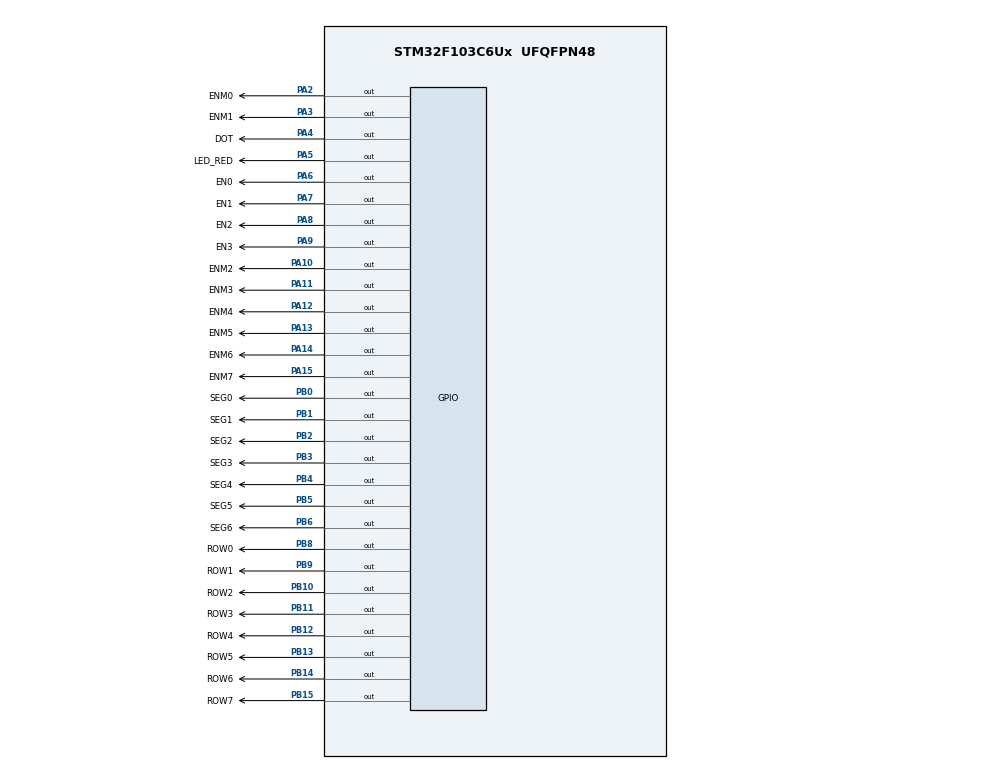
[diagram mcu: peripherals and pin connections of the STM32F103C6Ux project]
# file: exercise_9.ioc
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Mcu.Family=STM32F1
Mcu.Name=STM32F103C6Ux
Mcu.Package=UFQFPN48
NVIC.PriorityGroup=NVIC_PRIORITYGROUP_4
NVIC.TIM2_IRQn=true\:0\:0\:false\:false\:true\:true\:true
PA10.GPIO_Label=ENM2
PA10.Signal=GPIO_Output
PA11.GPIO_Label=ENM3
PA11.Signal=GPIO_Output
PA12.GPIO_Label=ENM4
PA12.Signal=GPIO_Output
PA13.GPIO_Label=ENM5
PA13.Signal=GPIO_Output
PA14.GPIO_Label=ENM6
PA14.Signal=GPIO_Output
PA15.GPIO_Label=ENM7
PA15.Signal=GPIO_Output
PA2.GPIO_Label=ENM0
PA2.Signal=GPIO_Output
PA3.GPIO_Label=ENM1
PA3.Signal=GPIO_Output
PA4.GPIO_Label=DOT
PA4.Signal=GPIO_Output
PA5.GPIO_Label=LED_RED
PA5.Signal=GPIO_Output
PA6.GPIO_Label=EN0
PA6.Signal=GPIO_Output
PA7.GPIO_Label=EN1
PA7.Signal=GPIO_Output
PA8.GPIO_Label=EN2
PA8.Signal=GPIO_Output
PA9.GPIO_Label=EN3
PA9.Signal=GPIO_Output
PB0.GPIO_Label=SEG0
PB0.Signal=GPIO_Output
PB1.GPIO_Label=SEG1
PB1.Signal=GPIO_Output
PB10.GPIO_Label=ROW2
PB10.Signal=GPIO_Output
PB11.GPIO_Label=ROW3
PB11.Signal=GPIO_Output
PB12.GPIO_Label=ROW4
PB12.Signal=GPIO_Output
PB13.GPIO_Label=ROW5
PB13.Signal=GPIO_Output
PB14.GPIO_Label=ROW6
PB14.Signal=GPIO_Output
PB15.GPIO_Label=ROW7
PB15.Signal=GPIO_Output
PB2.GPIO_Label=SEG2
PB2.Signal=GPIO_Output
PB3.GPIO_Label=SEG3
PB3.Signal=GPIO_Output
PB4.GPIO_Label=SEG4
PB4.Signal=GPIO_Output
PB5.GPIO_Label=SEG5
PB5.Signal=GPIO_Output
PB6.GPIO_Label=SEG6
PB6.Signal=GPIO_Output
PB8.GPIO_Label=ROW0
PB8.Signal=GPIO_Output
PB9.GPIO_Label=ROW1
PB9.Signal=GPIO_Output
ProjectManager.HeapSize=0x200
ProjectManager.StackSize=0x400
ProjectManager.TargetToolchain=STM32CubeIDE
RCC.APB1Freq_Value=8000000
RCC.APB2Freq_Value=8000000
TIM2.Period=9
TIM2.Prescaler=7999
VP_SYS_VS_ND.Mode=No_Debug
VP_TIM2_VS_ClockSourceINT.Mode=Internal
board=custom

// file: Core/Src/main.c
/* USER CODE BEGIN Header */
/**
  ******************************************************************************
  * @file           : main.c
  * @brief          : Main program body
  ******************************************************************************
  * @attention
  *
  * <h2><center>&copy; Copyright (c) 2025 STMicroelectronics.
  * All rights reserved.</center></h2>
  *
  * This software component is licensed by ST under BSD 3-Clause license,
  * the "License"; You may not use this file except in compliance with the
  * License. You may obtain a copy of the License at:
  *                        opensource.org/licenses/BSD-3-Clause
  *
  ******************************************************************************
  */
/* USER CODE END Header */
#include "main.h"

/* USER CODE BEGIN Includes */
#include "software_timer.h"
/* USER CODE END Includes */

TIM_HandleTypeDef htim2;

/* USER CODE BEGIN PV */
uint8_t led7seg_num_display[] = {
		/*0*/ 0x40,/*0b1000000*/
		/*1*/ 0x79,/*0b11111001*/
		/*2*/ 0x24,/*0b0100100*/
		/*3*/ 0x30,/*0b0110000*/
		/*4*/ 0x19,/*0b0011001*/
		/*5*/ 0x12,/*0b0010010*/
		/*6*/ 0x02,/*0b0000010*/
		/*7*/ 0x78,/*0b1111000*/
		/*8*/ 0x00,/*0b0000000*/
		/*9*/ 0x10/*0b0010000*/
};

uint8_t matrix_buffer[8] = {
   /*11000011*/ 0xC3, // ~0x3C
   /*10111101*/ 0xBD, // ~0x42
   /*01111110*/ 0x7E, // ~0x81
   /*01111110*/ 0x7E, // ~0x81
   /*00000000*/ 0x00, // ~0xFF (Thanh ngang ON)
   /*01111110*/ 0x7E, // ~0x81
   /*01111110*/ 0x7E, // ~0x81
   /*11111111*/ 0xFF  // ~0x00 (Cột trống OFF)
};
int led_index = 0;
const int MAX_LED = 4;
int led_buffer[4] = {0};
int led_matrix_index = 0;
/* USER CODE END PV */

void SystemClock_Config(void);
static void MX_TIM2_Init(void);
static void MX_GPIO_Init(void);
/* USER CODE BEGIN PFP */
void display7SEG(uint8_t num);
void update7SEG(uint8_t index);
void updateClockBuffer(int hour, int min);
void displayMatrix(uint8_t index);
void updateLEDMatrix (uint8_t index);
/* USER CODE END PFP */

int main(void)
{

  /* MCU Configuration--------------------------------------------------------*/

  /* Reset of all peripherals, Initializes the Flash interface and the Systick. */
  HAL_Init();

  /* Configure the system clock */
  SystemClock_Config();

  /* Initialize all configured peripherals */
  MX_TIM2_Init();
  MX_GPIO_Init();
  /* USER CODE BEGIN 2 */
  HAL_TIM_Base_Start_IT(&htim2);
  /* USER CODE END 2 */

  /* Infinite loop */
  /* USER CODE BEGIN WHILE */
  setTimer(0, 10); //LED_RED
  setTimer(1, 5); //7_SEG
  setTimer(2, 10); //2 LED
  setTimer(3, 50);
  int hour = 15, minute = 8, second = 50;
  while (1)
  {
	  if (isExpired(0) == 1){
		  setTimer(0, 100);
		  HAL_GPIO_TogglePin(LED_RED_GPIO_Port,LED_RED_Pin);
	  }
	  if (isExpired(1) == 1){
		  setTimer(1,  50);
		  led_index = (led_index + 1) % MAX_LED;
	  }
	  if (isExpired(2) == 1){
		  setTimer(2, 100);
		  HAL_GPIO_TogglePin(DOT_GPIO_Port,DOT_Pin);
		  second++;
		  if (second >= 60){
			  second = 0;
			  minute++;
		  }
		  if (minute >= 60){
			  minute = 0;
			  hour++;
		  }
		  if (hour >= 24){
			  hour = 0;
		  }
		  updateClockBuffer(hour, minute);
	  }
	  if (isExpired(3) == 1){
		  setTimer(3, 50);
		  led_matrix_index++;
		  if(led_matrix_index >= 8) {
			  led_matrix_index = 0;
		  }
	  }
	  updateLEDMatrix(led_matrix_index);
	  update7SEG(led_index);

    /* USER CODE END WHILE */

  }
}

void SystemClock_Config(void)
{
  RCC_OscInitTypeDef RCC_OscInitStruct = {0};
  RCC_ClkInitTypeDef RCC_ClkInitStruct = {0};

  /** Initializes the RCC Oscillators according to the specified parameters
  * in the RCC_OscInitTypeDef structure.
  */
  RCC_OscInitStruct.OscillatorType = RCC_OSCILLATORTYPE_HSI;
  RCC_OscInitStruct.HSIState = RCC_HSI_ON;
  RCC_OscInitStruct.HSICalibrationValue = RCC_HSICALIBRATION_DEFAULT;
  RCC_OscInitStruct.PLL.PLLState = RCC_PLL_NONE;
  if (HAL_RCC_OscConfig(&RCC_OscInitStruct) != HAL_OK)
  {
    Error_Handler();
  }
  /** Initializes the CPU, AHB and APB buses clocks
  */
  RCC_ClkInitStruct.ClockType = RCC_CLOCKTYPE_HCLK|RCC_CLOCKTYPE_SYSCLK
                              |RCC_CLOCKTYPE_PCLK1|RCC_CLOCKTYPE_PCLK2;
  RCC_ClkInitStruct.SYSCLKSource = RCC_SYSCLKSOURCE_HSI;
  RCC_ClkInitStruct.AHBCLKDivider = RCC_SYSCLK_DIV1;
  RCC_ClkInitStruct.APB1CLKDivider = RCC_HCLK_DIV1;
  RCC_ClkInitStruct.APB2CLKDivider = RCC_HCLK_DIV1;

  if (HAL_RCC_ClockConfig(&RCC_ClkInitStruct, FLASH_LATENCY_0) != HAL_OK)
  {
    Error_Handler();
  }
}

static void MX_TIM2_Init(void)
{

  TIM_ClockConfigTypeDef sClockSourceConfig = {0};
  TIM_MasterConfigTypeDef sMasterConfig = {0};

  htim2.Instance = TIM2;
  htim2.Init.Prescaler = 799;
  htim2.Init.CounterMode = TIM_COUNTERMODE_UP;
  htim2.Init.Period = 9;
  htim2.Init.ClockDivision = TIM_CLOCKDIVISION_DIV1;
  htim2.Init.AutoReloadPreload = TIM_AUTORELOAD_PRELOAD_DISABLE;
  if (HAL_TIM_Base_Init(&htim2) != HAL_OK)
  {
    Error_Handler();
  }
  sClockSourceConfig.ClockSource = TIM_CLOCKSOURCE_INTERNAL;
  if (HAL_TIM_ConfigClockSource(&htim2, &sClockSourceConfig) != HAL_OK)
  {
    Error_Handler();
  }
  sMasterConfig.MasterOutputTrigger = TIM_TRGO_RESET;
  sMasterConfig.MasterSlaveMode = TIM_MASTERSLAVEMODE_DISABLE;
  if (HAL_TIMEx_MasterConfigSynchronization(&htim2, &sMasterConfig) != HAL_OK)
  {
    Error_Handler();
  }

}

static void MX_GPIO_Init(void)
{
  GPIO_InitTypeDef GPIO_InitStruct = {0};

  /* GPIO Ports Clock Enable */
  __HAL_RCC_GPIOA_CLK_ENABLE();
  __HAL_RCC_GPIOB_CLK_ENABLE();

  /*Configure GPIO pin Output Level */
  HAL_GPIO_WritePin(GPIOA, ENM0_Pin|ENM1_Pin|DOT_Pin|LED_RED_Pin
                          |EN0_Pin|EN1_Pin|EN2_Pin|EN3_Pin
                          |ENM2_Pin|ENM3_Pin|ENM4_Pin|ENM5_Pin
                          |ENM6_Pin|ENM7_Pin, GPIO_PIN_RESET);

  /*Configure GPIO pin Output Level */
  HAL_GPIO_WritePin(GPIOB, SEG0_Pin|SEG1_Pin|SEG2_Pin|ROW2_Pin
                          |ROW3_Pin|ROW4_Pin|ROW5_Pin|ROW6_Pin
                          |ROW7_Pin|SEG3_Pin|SEG4_Pin|SEG5_Pin
                          |SEG6_Pin|ROW0_Pin|ROW1_Pin, GPIO_PIN_RESET);

  /*Configure GPIO pins : ENM0_Pin ENM1_Pin DOT_Pin LED_RED_Pin
                           EN0_Pin EN1_Pin EN2_Pin EN3_Pin
                           ENM2_Pin ENM3_Pin ENM4_Pin ENM5_Pin
                           ENM6_Pin ENM7_Pin */
  GPIO_InitStruct.Pin = ENM0_Pin|ENM1_Pin|DOT_Pin|LED_RED_Pin
                          |EN0_Pin|EN1_Pin|EN2_Pin|EN3_Pin
                          |ENM2_Pin|ENM3_Pin|ENM4_Pin|ENM5_Pin
                          |ENM6_Pin|ENM7_Pin;
  GPIO_InitStruct.Mode = GPIO_MODE_OUTPUT_PP;
  GPIO_InitStruct.Pull = GPIO_NOPULL;
  GPIO_InitStruct.Speed = GPIO_SPEED_FREQ_LOW;
  HAL_GPIO_Init(GPIOA, &GPIO_InitStruct);

  /*Configure GPIO pins : SEG0_Pin SEG1_Pin SEG2_Pin ROW2_Pin
                           ROW3_Pin ROW4_Pin ROW5_Pin ROW6_Pin
                           ROW7_Pin SEG3_Pin SEG4_Pin SEG5_Pin
                           SEG6_Pin ROW0_Pin ROW1_Pin */
  GPIO_InitStruct.Pin = SEG0_Pin|SEG1_Pin|SEG2_Pin|ROW2_Pin
                          |ROW3_Pin|ROW4_Pin|ROW5_Pin|ROW6_Pin
                          |ROW7_Pin|SEG3_Pin|SEG4_Pin|SEG5_Pin
                          |SEG6_Pin|ROW0_Pin|ROW1_Pin;
  GPIO_InitStruct.Mode = GPIO_MODE_OUTPUT_PP;
  GPIO_InitStruct.Pull = GPIO_NOPULL;
  GPIO_InitStruct.Speed = GPIO_SPEED_FREQ_LOW;
  HAL_GPIO_Init(GPIOB, &GPIO_InitStruct);

}

/* USER CODE BEGIN 4 */
void HAL_TIM_PeriodElapsedCallback(TIM_HandleTypeDef *htim){
	timerRun();
}

void display7SEG(uint8_t num){
	HAL_GPIO_WritePin(SEG0_GPIO_Port, SEG0_Pin, !((~led7seg_num_display[num]) & (1 << 0)));
	HAL_GPIO_WritePin(SEG1_GPIO_Port, SEG1_Pin, !((~led7seg_num_display[num]) & (1 << 1)));
	HAL_GPIO_WritePin(SEG2_GPIO_Port, SEG2_Pin, !((~led7seg_num_display[num]) & (1 << 2)));
	HAL_GPIO_WritePin(SEG3_GPIO_Port, SEG3_Pin, !((~led7seg_num_display[num]) & (1 << 3)));
	HAL_GPIO_WritePin(SEG4_GPIO_Port, SEG4_Pin, !((~led7seg_num_display[num]) & (1 << 4)));
	HAL_GPIO_WritePin(SEG5_GPIO_Port, SEG5_Pin, !((~led7seg_num_display[num]) & (1 << 5)));
	HAL_GPIO_WritePin(SEG6_GPIO_Port, SEG6_Pin, !((~led7seg_num_display[num]) & (1 << 6)));
}

void update7SEG(uint8_t index){
	switch(index){
		case 0:
			display7SEG(led_buffer[0]);
			HAL_GPIO_WritePin(EN0_GPIO_Port, EN0_Pin, GPIO_PIN_RESET);
			HAL_GPIO_WritePin(EN1_GPIO_Port, EN1_Pin, GPIO_PIN_SET);
			HAL_GPIO_WritePin(EN2_GPIO_Port, EN2_Pin, GPIO_PIN_SET);
			HAL_GPIO_WritePin(EN3_GPIO_Port, EN3_Pin, GPIO_PIN_SET);
			break;
		case 1:
			display7SEG(led_buffer[1]);
			HAL_GPIO_WritePin(EN0_GPIO_Port, EN0_Pin, GPIO_PIN_SET);
			HAL_GPIO_WritePin(EN1_GPIO_Port, EN1_Pin, GPIO_PIN_RESET);
			HAL_GPIO_WritePin(EN2_GPIO_Port, EN2_Pin, GPIO_PIN_SET);
			HAL_GPIO_WritePin(EN3_GPIO_Port, EN3_Pin, GPIO_PIN_SET);
			break;
		case 2:
			display7SEG(led_buffer[2]);
			HAL_GPIO_WritePin(EN0_GPIO_Port, EN0_Pin, GPIO_PIN_SET);
			HAL_GPIO_WritePin(EN1_GPIO_Port, EN1_Pin, GPIO_PIN_SET);
			HAL_GPIO_WritePin(EN2_GPIO_Port, EN2_Pin, GPIO_PIN_RESET);
			HAL_GPIO_WritePin(EN3_GPIO_Port, EN3_Pin, GPIO_PIN_SET);
			break;
		case 3:
			display7SEG(led_buffer[3]);
			HAL_GPIO_WritePin(EN0_GPIO_Port, EN0_Pin, GPIO_PIN_SET);
			HAL_GPIO_WritePin(EN1_GPIO_Port, EN1_Pin, GPIO_PIN_SET);
			HAL_GPIO_WritePin(EN2_GPIO_Port, EN2_Pin, GPIO_PIN_SET);
			HAL_GPIO_WritePin(EN3_GPIO_Port, EN3_Pin, GPIO_PIN_RESET);
			break;
		default:
			break;
	}

}

void updateClockBuffer(int hour, int min){
	led_buffer[0] = hour / 10;
	led_buffer[1] = hour % 10;
	led_buffer[2] = min / 10;
	led_buffer[3] = min % 10;
}

void displayMatrix(uint8_t index){
	int data = matrix_buffer[index];
	HAL_GPIO_WritePin(ROW0_GPIO_Port, ROW0_Pin, (data & 0x01) ? GPIO_PIN_SET : GPIO_PIN_RESET);
	HAL_GPIO_WritePin(ROW1_GPIO_Port, ROW1_Pin, (data & 0x02) ? GPIO_PIN_SET : GPIO_PIN_RESET);
	HAL_GPIO_WritePin(ROW2_GPIO_Port, ROW2_Pin, (data & 0x04) ? GPIO_PIN_SET : GPIO_PIN_RESET);
	HAL_GPIO_WritePin(ROW3_GPIO_Port, ROW3_Pin, (data & 0x08) ? GPIO_PIN_SET : GPIO_PIN_RESET);
	HAL_GPIO_WritePin(ROW4_GPIO_Port, ROW4_Pin, (data & 0x10) ? GPIO_PIN_SET : GPIO_PIN_RESET);
	HAL_GPIO_WritePin(ROW5_GPIO_Port, ROW5_Pin, (data & 0x20) ? GPIO_PIN_SET : GPIO_PIN_RESET);
	HAL_GPIO_WritePin(ROW6_GPIO_Port, ROW6_Pin, (data & 0x40) ? GPIO_PIN_SET : GPIO_PIN_RESET);
	HAL_GPIO_WritePin(ROW7_GPIO_Port, ROW7_Pin, (data & 0x80) ? GPIO_PIN_SET : GPIO_PIN_RESET);
}

void updateLEDMatrix(uint8_t index){
	HAL_GPIO_WritePin(ENM0_GPIO_Port, ENM0_Pin, GPIO_PIN_SET);
	HAL_GPIO_WritePin(ENM1_GPIO_Port, ENM1_Pin, GPIO_PIN_SET);
	HAL_GPIO_WritePin(ENM2_GPIO_Port, ENM2_Pin, GPIO_PIN_SET);
	HAL_GPIO_WritePin(ENM3_GPIO_Port, ENM3_Pin, GPIO_PIN_SET);
	HAL_GPIO_WritePin(ENM4_GPIO_Port, ENM4_Pin, GPIO_PIN_SET);
	HAL_GPIO_WritePin(ENM5_GPIO_Port, ENM5_Pin, GPIO_PIN_SET);
	HAL_GPIO_WritePin(ENM6_GPIO_Port, ENM6_Pin, GPIO_PIN_SET);
	HAL_GPIO_WritePin(ENM7_GPIO_Port, ENM7_Pin, GPIO_PIN_SET);
	displayMatrix(index);
	switch (index){
		case 0:
			HAL_GPIO_WritePin(ENM0_GPIO_Port, ENM0_Pin, GPIO_PIN_RESET);
			break;
		case 1:
			HAL_GPIO_WritePin(ENM1_GPIO_Port, ENM1_Pin, GPIO_PIN_RESET);
			break;
		case 2:
			HAL_GPIO_WritePin(ENM2_GPIO_Port, ENM2_Pin, GPIO_PIN_RESET);
			break;
		case 3:
			HAL_GPIO_WritePin(ENM3_GPIO_Port, ENM3_Pin, GPIO_PIN_RESET);
			break;
		case 4:
			HAL_GPIO_WritePin(ENM4_GPIO_Port, ENM4_Pin, GPIO_PIN_RESET);
			break;
		case 5:
			HAL_GPIO_WritePin(ENM5_GPIO_Port, ENM5_Pin, GPIO_PIN_RESET);
			break;
		case 6:
			HAL_GPIO_WritePin(ENM6_GPIO_Port, ENM6_Pin, GPIO_PIN_RESET);
			break;
		case 7:
			HAL_GPIO_WritePin(ENM7_GPIO_Port, ENM7_Pin, GPIO_PIN_RESET);
			break;
		default:
			break;
	}
}
/* USER CODE END 4 */

void Error_Handler(void)
{
  __disable_irq();
  while (1)
  {
  }
}

/************************ (C) COPYRIGHT STMicroelectronics *****END OF FILE****/
